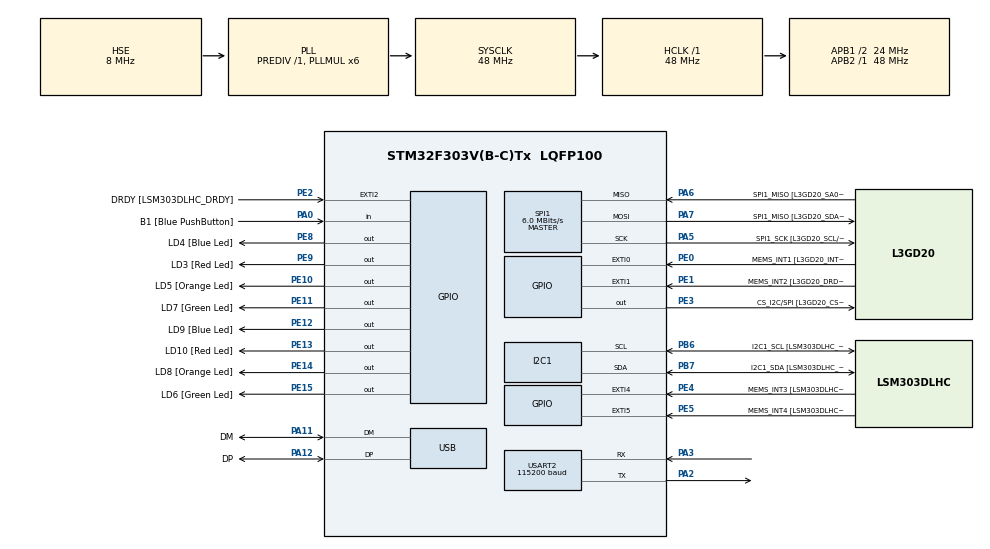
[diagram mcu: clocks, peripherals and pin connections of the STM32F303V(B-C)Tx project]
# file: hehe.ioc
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I2C1.Timing=0x00201D2B
I2C1.Timing-I2C=0x2000090E
Mcu.Family=STM32F3
Mcu.Name=STM32F303V(B-C)Tx
Mcu.Package=LQFP100
NVIC.PriorityGroup=NVIC_PRIORITYGROUP_0
PA0.GPIO_Label=B1 [Blue PushButton]
PA0.Signal=GPIO_Input
PA11.GPIO_Label=DM
PA11.Mode=Device
PA11.Signal=USB_DM
PA12.GPIO_Label=DP
PA12.Mode=Device
PA12.Signal=USB_DP
PA13.GPIO_Label=SWDIO
PA13.Mode=Serial_Wire
PA13.Signal=SYS_JTMS-SWDIO
PA14.GPIO_Label=SWCLK
PA14.Mode=Serial_Wire
PA14.Signal=SYS_JTCK-SWCLK
PA2.Mode=Asynchronous
PA2.Signal=USART2_TX
PA3.Mode=Asynchronous
PA3.Signal=USART2_RX
PA5.GPIO_Label=SPI1_SCK [L3GD20_SCL/SPC]
PA5.Mode=Full_Duplex_Master
PA5.Signal=SPI1_SCK
PA6.GPIO_Label=SPI1_MISO [L3GD20_SA0/SDO]
PA6.Mode=Full_Duplex_Master
PA6.Signal=SPI1_MISO
PA7.GPIO_Label=SPI1_MISO [L3GD20_SDA/SDI/SDO]
PA7.Mode=Full_Duplex_Master
PA7.Signal=SPI1_MOSI
PB3.GPIO_Label=SWO
PB3.Signal=SYS_JTDO-TRACESWO
PB6.GPIO_Label=I2C1_SCL [LSM303DLHC_SCL]
PB6.GPIO_Pu=GPIO_PULLUP
PB6.Mode=I2C
PB6.Signal=I2C1_SCL
PB7.GPIO_Label=I2C1_SDA [LSM303DLHC_SDA]
PB7.GPIO_Pu=GPIO_PULLUP
PB7.Mode=I2C
PB7.Signal=I2C1_SDA
PC14-OSC32_IN.GPIO_Label=OSC32_IN
PC14-OSC32_IN.Signal=RCC_OSC32_IN
PC15-OSC32_OUT.GPIO_Label=OSC32_OUT
PC15-OSC32_OUT.Signal=RCC_OSC32_OUT
PE0.GPIO_Label=MEMS_INT1 [L3GD20_INT1]
PE0.GPIO_ModeDefaultEXTI=GPIO_MODE_EVT_RISING
PE0.Signal=GPXTI0
PE1.GPIO_Label=MEMS_INT2 [L3GD20_DRDY/INT2]
PE1.GPIO_ModeDefaultEXTI=GPIO_MODE_EVT_RISING
PE1.Signal=GPXTI1
PE10.GPIO_Label=LD5 [Orange Led]
PE10.Signal=GPIO_Output
PE11.GPIO_Label=LD7 [Green Led]
PE11.Signal=GPIO_Output
PE12.GPIO_Label=LD9 [Blue Led]
PE12.Signal=GPIO_Output
PE13.GPIO_Label=LD10 [Red Led]
PE13.Signal=GPIO_Output
PE14.GPIO_Label=LD8 [Orange Led]
PE14.Signal=GPIO_Output
PE15.GPIO_Label=LD6 [Green Led]
PE15.Signal=GPIO_Output
PE2.GPIO_Label=DRDY [LSM303DLHC_DRDY]
PE2.GPIO_ModeDefaultEXTI=GPIO_MODE_EVT_RISING
PE2.Signal=GPXTI2
PE3.GPIO_Label=CS_I2C/SPI [L3GD20_CS_I2C/SPI]
PE3.Signal=GPIO_Output
PE4.GPIO_Label=MEMS_INT3 [LSM303DLHC_INT1]
PE4.GPIO_ModeDefaultEXTI=GPIO_MODE_EVT_RISING
PE4.Signal=GPXTI4
PE5.GPIO_Label=MEMS_INT4 [LSM303DLHC_INT2]
PE5.GPIO_ModeDefaultEXTI=GPIO_MODE_EVT_RISING
PE5.Signal=GPXTI5
PE8.GPIO_Label=LD4 [Blue Led]
PE8.Signal=GPIO_Output
PE9.GPIO_Label=LD3 [Red Led]
PE9.Signal=GPIO_Output
PF0-OSC_IN.GPIO_Label=OSC_IN
PF0-OSC_IN.Mode=HSE-External-Clock-Source
PF0-OSC_IN.Signal=RCC_OSC_IN
PF1-OSC_OUT.GPIO_Label=OSC_OUT
PF1-OSC_OUT.Signal=RCC_OSC_OUT
ProjectManager.HeapSize=0x200
ProjectManager.StackSize=0x400
ProjectManager.TargetToolchain=CMake
RCC.AHBFreq_Value=48000000
RCC.APB1CLKDivider=RCC_HCLK_DIV2
RCC.APB1Freq_Value=24000000
RCC.APB1TimFreq_Value=48000000
RCC.APB2Freq_Value=48000000
RCC.APB2TimFreq_Value=48000000
RCC.CortexFreq_Value=48000000
RCC.HCLKFreq_Value=48000000
RCC.HSE_VALUE=8000000
RCC.HSI_VALUE=8000000
RCC.LSE_VALUE=32768
RCC.PLLMUL=RCC_PLL_MUL6
RCC.SYSCLKFreq_VALUE=48000000
RCC.SYSCLKSourceVirtual=RCC_SYSCLKSOURCE_PLLCLK
RCC.USBFreq_Value=48000000
SPI1.BaudRatePrescaler=SPI_BAUDRATEPRESCALER_8
SPI1.BaudRatePrescaler-Full_Duplex_Master=SPI_BAUDRATEPRESCALER_2
SPI1.CLKPhase=SPI_PHASE_2EDGE
SPI1.CLKPolarity=SPI_POLARITY_HIGH
SPI1.CalculateBaudRate=6.0 MBits/s
SPI1.CalculateBaudRate-Full_Duplex_Master=24.0 MBits/s
SPI1.DataSize=SPI_DATASIZE_8BIT
SPI1.Direction=SPI_DIRECTION_2LINES
SPI1.Mode=SPI_MODE_MASTER
SPI1.Mode-Full_Duplex_Master=SPI_MODE_MASTER
SPI1.VirtualType=VM_MASTER
USART2.BaudRate=115200
USART2.VirtualMode-Asynchronous=VM_ASYNC
board=STM32F3DISCOVERY

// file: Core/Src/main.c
/* USER CODE BEGIN Header */
/**
  ******************************************************************************
  * @file           : main.c
  * @brief          : Main program body (LSM303DLHC I2C Accelerometer)
  ******************************************************************************
  * @attention
  *
  * STM32F3Discovery + LSM303DLHC (onboard)
  * I2C1_SCL = PB6
  * I2C1_SDA = PB7
  * CS_I2C_SPI = PE3 (must be HIGH for I2C)
  *
  ******************************************************************************
  */
/* USER CODE END Header */

#include "main.h"
#include "stdarg.h"
#include "stdio.h"
#include "stm32f3xx_hal.h"
#include "string.h"
#include "math.h"

#define RAD_TO_DEG 57.2958f
#define device_address (0x19 << 1) // Accelerometer I2C address (0x19 << 1)

I2C_HandleTypeDef hi2c1;
SPI_HandleTypeDef hspi1;
UART_HandleTypeDef huart2;
PCD_HandleTypeDef hpcd_USB_FS;

/* USER CODE BEGIN PV */
float set_x = 0.0, set_y = 0.0, set_z = 0.0;
float g_x = 0.0, g_y = 0.0, g_z = 0.0;
float roll = 0.0, pitch = 0.0;
/* USER CODE END PV */

void SystemClock_Config(void);
static void MX_GPIO_Init(void);
static void MX_I2C1_Init(void);
static void MX_SPI1_Init(void);
static void MX_USART2_UART_Init(void);
static void MX_USB_PCD_Init(void);

/* USER CODE BEGIN 0 */
void print_lsm(const char *fmt, ...) {
    char buffer[135];
    va_list args;
    va_start(args, fmt);
    vsnprintf(buffer, sizeof(buffer), fmt, args);
    va_end(args);
    HAL_UART_Transmit(&huart2, (uint8_t*)buffer, strlen(buffer), HAL_MAX_DELAY);
}

void init_lsm(void) {
    uint8_t reg1_addr = 0x20;
    uint8_t reg1_data = 0x67; // 100Hz, normal mode, XYZ enabled
    if (HAL_I2C_Mem_Write(&hi2c1, device_address, reg1_addr, I2C_MEMADD_SIZE_8BIT, &reg1_data, 1, 100) != HAL_OK) {
        print_lsm("ERR: init_lsm reg1 write failed\r\n");
    }
    HAL_Delay(10);

    uint8_t reg4_addr = 0x23;
    uint8_t reg4_data = 0x00; // ±2g, continuous update
    if (HAL_I2C_Mem_Write(&hi2c1, device_address, reg4_addr, I2C_MEMADD_SIZE_8BIT, &reg4_data, 1, 100) != HAL_OK) {
        print_lsm("ERR: init_lsm reg4 write failed\r\n");
    }
    HAL_Delay(10);
}

void read_lsm(){
    uint8_t xla, xha, yla, yha, zla, zha;
    uint16_t x, y, z;

    // X VALUES
    HAL_I2C_Mem_Read(&hi2c1, device_address, 0x28 ,I2C_MEMADD_SIZE_8BIT, &xla, 1, 100 ); // reads xla
    HAL_I2C_Mem_Read(&hi2c1, device_address, 0x29 ,I2C_MEMADD_SIZE_8BIT, &xha, 1, 100 ); // reads xha

   // Y VALUES
    HAL_I2C_Mem_Read(&hi2c1, device_address, 0x2A ,I2C_MEMADD_SIZE_8BIT, &yla, 1, 100 ); // reads yla
    HAL_I2C_Mem_Read(&hi2c1, device_address, 0x2B ,I2C_MEMADD_SIZE_8BIT, &yha, 1, 100 ); // reads yha

    // Z VALUES
    HAL_I2C_Mem_Read(&hi2c1, device_address, 0x2C ,I2C_MEMADD_SIZE_8BIT, &zla, 1, 100 ); // reads zla
    HAL_I2C_Mem_Read(&hi2c1, device_address, 0x2D ,I2C_MEMADD_SIZE_8BIT, &zha, 1, 100 ); // reads zha

    x = (xha << 8) | xla;
    y = (yha << 8) | yla;
    z = (zha << 8) | zla;

    float g = 0.0039f;
    g_x = (x * g)-set_x;
    g_y = (y * g)-set_y;
    g_z = (z * g)-set_z;

    roll = (atan2(g_x,g_z)) * RAD_TO_DEG; //sideway rotation
    pitch = (atan2(g_y,g_z)) * RAD_TO_DEG; //forward/backward rotation

}

void offset(void) {
    float off_x = 0, off_y = 0, off_z = 0;
    const int samples = 50;
    HAL_Delay(50);
    for (int i = 0; i < samples; i++) {
        read_lsm();
        off_x += g_x;
        off_y += g_y;
        off_z += g_z;
        HAL_Delay(10);
    }
    set_x = off_x / samples;
    set_y = off_y / samples;
    set_z = (off_z / samples) - 1.0f;

}
/* USER CODE END 0 */

int main(void)
{
  HAL_Init();

  /* === Force CS High BEFORE I2C init === */
  __HAL_RCC_GPIOE_CLK_ENABLE();
  GPIO_InitTypeDef GPIO_InitStruct = {0};
  GPIO_InitStruct.Pin = CS_I2C_SPI_Pin;
  GPIO_InitStruct.Mode = GPIO_MODE_OUTPUT_PP;
  GPIO_InitStruct.Pull = GPIO_NOPULL;
  GPIO_InitStruct.Speed = GPIO_SPEED_FREQ_LOW;
  HAL_GPIO_Init(GPIOE, &GPIO_InitStruct);
  HAL_GPIO_WritePin(GPIOE, CS_I2C_SPI_Pin, GPIO_PIN_SET);
  HAL_Delay(10);

  /* Check CS pin state */
  GPIO_PinState cs_state = HAL_GPIO_ReadPin(GPIOE, CS_I2C_SPI_Pin);

  /* Continue with system init */
  SystemClock_Config();
  MX_GPIO_Init();
  MX_I2C1_Init();
  MX_SPI1_Init();
  MX_USART2_UART_Init();
  MX_USB_PCD_Init();

  print_lsm("\r\n--- STM32F3Discovery LSM303DLHC I2C Test ---\r\n");
  print_lsm("CS pin state: %d (1=HIGH, 0=LOW)\r\n", cs_state);
  HAL_Delay(100);

  /* Try reading WHO_AM_I */
  uint8_t whoami = 0;
  if (HAL_I2C_Mem_Read(&hi2c1, device_address, 0x0F, I2C_MEMADD_SIZE_8BIT, &whoami, 1, 100) == HAL_OK)
      print_lsm("WHO_AM_I (0x19): 0x%02X\r\n", whoami);
  else
      print_lsm("WHO_AM_I read failed\r\n");

  /* Initialize accelerometer and calibrate */
  init_lsm();
  offset();

  while (1)
  {
      read_lsm();
      //print_lsm("Pitch: %.2f  Roll: %.2f\r\n", pitch, roll);
      print_lsm("%f\n %f\n %f\n", g_x, g_y, g_z);
      HAL_Delay(200);
  }
}
/* USER CODE END 1 */

/* --- System Configuration and Peripheral Init functions --- */
void SystemClock_Config(void) {
  RCC_OscInitTypeDef RCC_OscInitStruct = {0};
  RCC_ClkInitTypeDef RCC_ClkInitStruct = {0};
  RCC_PeriphCLKInitTypeDef PeriphClkInit = {0};

  RCC_OscInitStruct.OscillatorType = RCC_OSCILLATORTYPE_HSI|RCC_OSCILLATORTYPE_HSE;
  RCC_OscInitStruct.HSEState = RCC_HSE_BYPASS;
  RCC_OscInitStruct.HSEPredivValue = RCC_HSE_PREDIV_DIV1;
  RCC_OscInitStruct.HSIState = RCC_HSI_ON;
  RCC_OscInitStruct.HSICalibrationValue = RCC_HSICALIBRATION_DEFAULT;
  RCC_OscInitStruct.PLL.PLLState = RCC_PLL_ON;
  RCC_OscInitStruct.PLL.PLLSource = RCC_PLLSOURCE_HSE;
  RCC_OscInitStruct.PLL.PLLMUL = RCC_PLL_MUL6;
  HAL_RCC_OscConfig(&RCC_OscInitStruct);

  RCC_ClkInitStruct.ClockType = RCC_CLOCKTYPE_HCLK|RCC_CLOCKTYPE_SYSCLK
                              |RCC_CLOCKTYPE_PCLK1|RCC_CLOCKTYPE_PCLK2;
  RCC_ClkInitStruct.SYSCLKSource = RCC_SYSCLKSOURCE_PLLCLK;
  RCC_ClkInitStruct.AHBCLKDivider = RCC_SYSCLK_DIV1;
  RCC_ClkInitStruct.APB1CLKDivider = RCC_HCLK_DIV2;
  RCC_ClkInitStruct.APB2CLKDivider = RCC_HCLK_DIV1;
  HAL_RCC_ClockConfig(&RCC_ClkInitStruct, FLASH_LATENCY_1);

  PeriphClkInit.PeriphClockSelection = RCC_PERIPHCLK_USB|RCC_PERIPHCLK_USART2|RCC_PERIPHCLK_I2C1;
  PeriphClkInit.Usart2ClockSelection = RCC_USART2CLKSOURCE_PCLK1;
  PeriphClkInit.I2c1ClockSelection = RCC_I2C1CLKSOURCE_HSI;
  PeriphClkInit.USBClockSelection = RCC_USBCLKSOURCE_PLL;
  HAL_RCCEx_PeriphCLKConfig(&PeriphClkInit);
}

static void MX_I2C1_Init(void) {
  hi2c1.Instance = I2C1;
  hi2c1.Init.Timing = 0x00201D2B;
  hi2c1.Init.OwnAddress1 = 0;
  hi2c1.Init.AddressingMode = I2C_ADDRESSINGMODE_7BIT;
  hi2c1.Init.DualAddressMode = I2C_DUALADDRESS_DISABLE;
  hi2c1.Init.OwnAddress2 = 0;
  hi2c1.Init.OwnAddress2Masks = I2C_OA2_NOMASK;
  hi2c1.Init.GeneralCallMode = I2C_GENERALCALL_DISABLE;
  hi2c1.Init.NoStretchMode = I2C_NOSTRETCH_DISABLE;
  HAL_I2C_Init(&hi2c1);
  HAL_I2CEx_ConfigAnalogFilter(&hi2c1, I2C_ANALOGFILTER_ENABLE);
  HAL_I2CEx_ConfigDigitalFilter(&hi2c1, 0);
}

static void MX_SPI1_Init(void) {
  hspi1.Instance = SPI1;
  hspi1.Init.Mode = SPI_MODE_MASTER;
  hspi1.Init.Direction = SPI_DIRECTION_2LINES;
  hspi1.Init.DataSize = SPI_DATASIZE_8BIT;
  hspi1.Init.CLKPolarity = SPI_POLARITY_HIGH;
  hspi1.Init.CLKPhase = SPI_PHASE_2EDGE;
  hspi1.Init.NSS = SPI_NSS_SOFT;
  hspi1.Init.BaudRatePrescaler = SPI_BAUDRATEPRESCALER_8;
  hspi1.Init.FirstBit = SPI_FIRSTBIT_MSB;
  hspi1.Init.TIMode = SPI_TIMODE_DISABLE;
  hspi1.Init.CRCCalculation = SPI_CRCCALCULATION_DISABLE;
  hspi1.Init.CRCPolynomial = 7;
  HAL_SPI_Init(&hspi1);
}

static void MX_USART2_UART_Init(void) {
  huart2.Instance = USART2;
  huart2.Init.BaudRate = 115200;
  huart2.Init.WordLength = UART_WORDLENGTH_8B;
  huart2.Init.StopBits = UART_STOPBITS_1;
  huart2.Init.Parity = UART_PARITY_NONE;
  huart2.Init.Mode = UART_MODE_TX_RX;
  huart2.Init.HwFlowCtl = UART_HWCONTROL_NONE;
  huart2.Init.OverSampling = UART_OVERSAMPLING_16;
  HAL_UART_Init(&huart2);
}

static void MX_USB_PCD_Init(void) {
  hpcd_USB_FS.Instance = USB;
  hpcd_USB_FS.Init.dev_endpoints = 8;
  hpcd_USB_FS.Init.speed = PCD_SPEED_FULL;
  hpcd_USB_FS.Init.phy_itface = PCD_PHY_EMBEDDED;
  hpcd_USB_FS.Init.low_power_enable = DISABLE;
  hpcd_USB_FS.Init.battery_charging_enable = DISABLE;
  HAL_PCD_Init(&hpcd_USB_FS);
}

static void MX_GPIO_Init(void) {
  GPIO_InitTypeDef GPIO_InitStruct = {0};
  __HAL_RCC_GPIOE_CLK_ENABLE();
  __HAL_RCC_GPIOC_CLK_ENABLE();
  __HAL_RCC_GPIOF_CLK_ENABLE();
  __HAL_RCC_GPIOA_CLK_ENABLE();
  __HAL_RCC_GPIOB_CLK_ENABLE();

  /* Keep CS pin high initially */
  HAL_GPIO_WritePin(GPIOE, CS_I2C_SPI_Pin, GPIO_PIN_SET);

  /* Configure LEDs */
  HAL_GPIO_WritePin(GPIOE, LD4_Pin|LD3_Pin|LD5_Pin|LD7_Pin|
                           LD9_Pin|LD10_Pin|LD8_Pin|LD6_Pin, GPIO_PIN_RESET);

  /* Configure CS and LED pins */
  GPIO_InitStruct.Pin = CS_I2C_SPI_Pin|LD4_Pin|LD3_Pin|LD5_Pin|
                        LD7_Pin|LD9_Pin|LD10_Pin|LD8_Pin|LD6_Pin;
  GPIO_InitStruct.Mode = GPIO_MODE_OUTPUT_PP;
  GPIO_InitStruct.Pull = GPIO_NOPULL;
  GPIO_InitStruct.Speed = GPIO_SPEED_FREQ_LOW;
  HAL_GPIO_Init(GPIOE, &GPIO_InitStruct);

  /* Configure Button */
  GPIO_InitStruct.Pin = B1_Pin;
  GPIO_InitStruct.Mode = GPIO_MODE_INPUT;
  GPIO_InitStruct.Pull = GPIO_NOPULL;
  HAL_GPIO_Init(B1_GPIO_Port, &GPIO_InitStruct);
}

/* USER CODE END */
